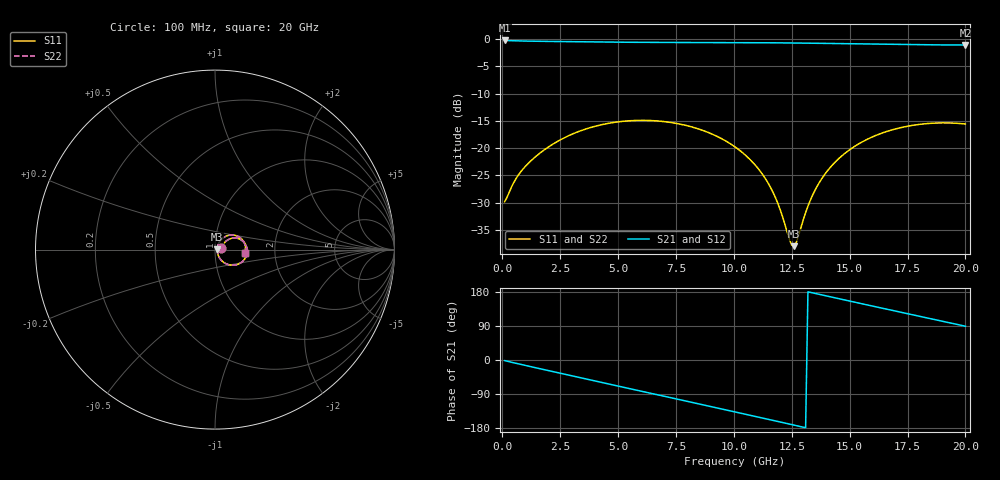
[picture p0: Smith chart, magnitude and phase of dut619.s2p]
! Touchstone file exported from HFSS 2026.1.0
!  File:  C:/ffzhzh/LocalFiles/Ansys_Project_Files/temp_train_TSV_RDL_619_1783124476_46604.aedt
!  Generated:  08:30:25 AM Jul  4, 2026
!  Design:  TSV_RDL
!  Project:  temp_train_TSV_RDL_619_1783124476_46604
! Variables:
!  h_bsmrdl = 2.52um
!  h_ox = 20um
!  h_rdl = 5um
!  h_sub = 99.76um
!  h_tmrdl = 2.94um
!  h_tsv = 99.76um
!  h_via = 3um
!  l_bsmrdl = 464.38um
!  l_sub = 4319.57um
!  l_tmrdl = 607.45um
!  m_sub = 200um
!  pitch = 23.07um
!  r_tsv = 7.19um
!  s_tmrdl = 10um
!  w_bsmrdl = 15.08um
!  w_sub = 500um
!  w_tmrdl = 17.13um
!  x_tsv_center1 = 616.015um
!  x_tsv_center2 = 1095.475um
!  x_tsv_center3 = 1720.055um
!  x_tsv_center4 = 2199.515um
!  x_tsv_center5 = 2824.095um
!  x_tsv_center6 = 3303.555um
# GHz S MA R 50.000000
! Terminal data exported
! Port[1] = TM_RDL1_1_T1
! Port[2] = TM_RDL5_1_T1
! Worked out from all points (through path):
!   200 points, 100 MHz to 20 GHz, reference 50 ohm
!   highest |S21| = -0.28 dB at 100 MHz (marker M1); lowest = -1.1 dB at 20 GHz (marker M2)
!   group delay of S21, straight-line fit = 37.6 ps
!   lowest |S11| = -37.9 dB at 12.6 GHz (marker M3), VSWR 1.03, Z = 51.3 + j0.1 ohm
!   |S11| at or under -10 dB: start of sweep to end of sweep
!   |S22| runs from -38.1 to -14.9 dB; largest |S21 - S12| = 1.6e-14
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0.1  0.03225 11.4  0.9685 -1.5  0.9685 -1.5  0.03225 11.4
! Gamma 0 0 0 0
! Port Impedance 50 0 50 0
0.6  0.05294 34.4  0.9607 -8.9  0.9607 -8.9  0.05294 34.4
1.3  0.07887 37.5  0.9534 -18.5  0.9534 -18.5  0.07889 37.5
2.3  0.1126 34.0  0.9475 -32.2  0.9475 -32.2  0.1126 34.0
3.5  0.1472 24.0  0.941 -48.5  0.941 -48.5  0.1473 23.9
5.2  0.1761 5.5  0.9333 -71.4  0.9333 -71.4  0.1762 5.5
6.8  0.1768 -13.3  0.9291 -92.9  0.9291 -92.9  0.1769 -13.4
8.4  0.1517 -32.5  0.9276 -114.5  0.9276 -114.5  0.1518 -32.6
10.1  0.101 -51.7  0.9262 -137.6  0.9262 -137.6  0.1011 -51.9
10.9  0.07097 -59.0  0.9246 -148.6  0.9246 -148.6  0.07103 -59.2
11.5  0.04709 -61.5  0.9229 -156.8  0.9229 -156.8  0.04713 -61.8
12  0.02739 -56.1  0.921 -163.7  0.921 -163.7  0.02738 -56.6
12.4  0.01455 -28.6  0.9192 -169.1  0.9192 -169.1  0.01445 -29.3
12.6  0.01267 4.4  0.9182 -171.9  0.9182 -171.9  0.01249 4.1
12.7  0.01376 21.0  0.9177 -173.2  0.9177 -173.2  0.01357 21.0
13.4  0.03711 58.6  0.9137 177.2  0.9137 177.2  0.03698 58.7
14  0.06041 58.7  0.9098 169.0  0.9098 169.0  0.06031 58.7
14.7  0.08632 53.4  0.905 159.6  0.905 159.6  0.08625 53.4
15.6  0.1159 44.3  0.8988 147.5  0.8988 147.5  0.1158 44.2
16.7  0.1443 31.9  0.8917 132.8  0.8917 132.8  0.1443 31.8
18.4  0.1683 12.0  0.8836 110.3  0.8836 110.3  0.1683 11.9
20  0.1665 -6.7  0.8799 89.1  0.8799 89.1  0.1665 -6.9
